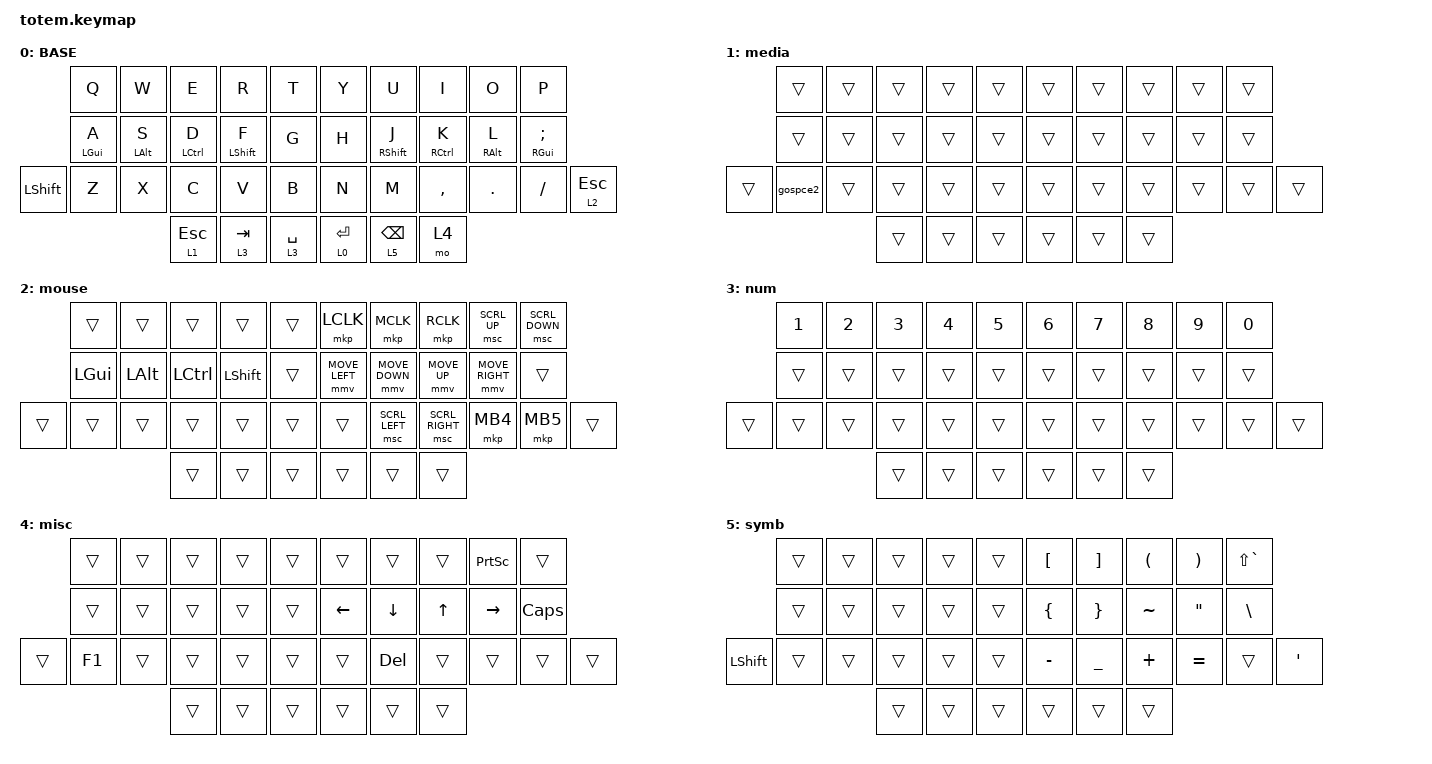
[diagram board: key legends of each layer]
//
//                                                        ▀▀▀▀▀     ▀▀▀▀▀          ▀▀█▀▀
//                                                        ▄▀▀▀▄  ▄  ▄▀▀▀▄  ▄  ▄▀▀▀▄  █  ▄▀▀▀▄
//                                                        █   █  █  █   █  █  █   █  █  █   █
//                                                         ▀▀▀   █   ▀▀▀   █   ▀▀▀   ▀   ▀▀▀
//                                                               █      ▄▄▄█▄▄▄    █   █  
//                                                               ▀      █  █  █     █▄█
//                                                             ▀▀▀▀▀    █  █  █      ▀
//                                                                      ▀  ▀  ▀
//
// ▄▄▄▄▄▄▄▄▄▄▄▄▄▄▄▄▄▄▄▄▄▄▄▄▄▄▄▄▄▄▄▄▄▄▄▄▄▄▄▄▄▄▄▄▄▄▄▄▄▄▄▄▄▄▄▄▄▄▄▄▄▄▄▄▄▄▄▄▄▄▄▄▄▄▄▄▄▄▄▄▄▄▄▄▄▄▄▄▄▄▄▄▄▄▄▄▄▄▄▄▄▄▄▄▄▄▄▄▄▄▄▄▄▄▄▄▄▄▄▄▄▄▄▄▄▄▄▄▄▄▄▄▄▄▄▄▄▄▄▄▄▄▄▄▄▄▄▄▄

#include <behaviors.dtsi>
#include <dt-bindings/zmk/keys.h>
#include <dt-bindings/zmk/pointing.h>

#define BASE 0
#define NAV  1
#define SYM  2
#define ADJ  3
#define TVP1 4
#define TVP2 5

&mt {
    quick-tap-ms = <100>;
    global-quick-tap;
    flavor = "tap-preferred";
    tapping-term-ms = <170>;
};

/ {
    combos {
        compatible = "zmk,combos";

        combo_esc {
            timeout-ms = <50>;
            key-positions = <0 1>;
            bindings = <&kp ESC>;
        };

        combo_tvp {
            timeout-ms = <100>;
            key-positions = <11 12 13>;
            bindings = <&tog 0>;
        };
    };

    macros {
        gospce2: gif {
            label = "giphy";
            compatible = "zmk,behavior-macro";
            #binding-cells = <0>;
            bindings =
                <&macro_press>,
                <&kp LEFT_GUI>,
                <&macro_tap>,
                <&kp N2>,
                <&macro_release>,
                <&kp LEFT_GUI>;
        };
    };

    keymap {
        compatible = "zmk,keymap";

        // ▄▄▄▄▄▄▄▄▄▄▄▄▄▄▄▄▄▄▄▄▄▄▄▄▄▄▄▄▄▄▄▄▄▄▄▄▄▄▄▄▄▄▄▄▄▄▄▄▄▄▄▄▄▄▄▄▄▄▄▄▄▄▄▄▄▄▄▄▄▄▄▄▄▄▄▄▄▄▄▄▄▄▄▄▄▄▄▄▄▄▄▄▄▄▄▄▄▄▄▄▄▄▄▄▄▄▄▄▄▄▄▄▄▄▄▄▄▄▄▄▄▄▄▄▄▄▄▄▄▄▄▄▄▄▄▄▄▄▄▄▄▄▄▄▄▄▄▄▄

        base_layer {
            // ┏━━━━━━━━━━━━━━━━━━━━━━━━━━━━━━━━━━━━━━━┓

            label = "BASE";

            // ┗━━━━━━━━━━━━━━━━━━━━━━━━━━━━━━━━━━━━━━━┛
            //             ┏━━━━━━━━━━━┳━━━━━━━━━━━┳━━━━━━━━━━━┳━━━━━━━━━━━┳━━━━━━━━━━━┓   ┏━━━━━━━━━━━┳━━━━━━━━━━━┳━━━━━━━━━━━┳━━━━━━━━━━━┳━━━━━━━━━━━┓
            //             ┃     Q     ┃     W     ┃     F     ┃     P     ┃     G     ┃   ┃     J     ┃     L     ┃     U     ┃     Y     ┃     ;     ┃
            //             ┣━━━━━━━━━━━╋━━━━━━━━━━━╋━━━━━━━━━━━╋━━━━━━━━━━━╋━━━━━━━━━━━┫   ┣━━━━━━━━━━━╋━━━━━━━━━━━╋━━━━━━━━━━━╋━━━━━━━━━━━╋━━━━━━━━━━━┫
            //             ┃     A     ┃     R     ┃     S     ┃     T     ┃     D     ┃   ┃     H     ┃     N     ┃     E     ┃     I     ┃     O     ┃
            // ┏━━━━━━━━━━━╋━━━━━━━━━━━╋━━━━━━━━━━━╋━━━━━━━━━━━╋━━━━━━━━━━━╋━━━━━━━━━━━┫   ┣━━━━━━━━━━━╋━━━━━━━━━━━╋━━━━━━━━━━━╋━━━━━━━━━━━╋━━━━━━━━━━━╋━━━━━━━━━━━┓
            // ┃     Q     ┃     Z     ┃     X     ┃     C     ┃     V     ┃     B     ┃   ┃     K     ┃     M     ┃     ,     ┃     .     ┃     /     ┃     \     ┃
            // ┗━━━━━━━━━━━┻━━━━━━━━━━━┻━━━━━━━━━━━╋━━━━━━━━━━━╋━━━━━━━━━━━╋━━━━━━━━━━━┫   ┣━━━━━━━━━━━╋━━━━━━━━━━━╋━━━━━━━━━━━╋━━━━━━━━━━━┻━━━━━━━━━━━┻━━━━━━━━━━━┛
            //                                     ┃    DEL    ┃    TAB    ┃    SPC    ┃   ┃   ENTER   ┃           ┃   BSPC    ┃
            //                                     ┗━━━━━━━━━━━┻━━━━━━━━━━━┻━━━━━━━━━━━┛   ┗━━━━━━━━━━━┻━━━━━━━━━━━┻━━━━━━━━━━━┛

            bindings = <
                &kp Q       &kp W       &kp E         &kp R        &kp T          &kp Y        &kp U            &kp I        &kp O       &kp P
                &mt LGUI A  &mt LALT S  &mt LCTRL D   &mt LSHFT F  &kp G          &kp H        &mt RSHFT J      &mt RCTRL K  &mt RALT L  &mt RIGHT_GUI SEMICOLON
&kp LEFT_SHIFT  &kp Z       &kp X       &kp C         &kp V        &kp B          &kp N        &kp M            &kp COMMA    &kp PERIOD  &kp FSLH                 &lt 2 ESCAPE
                                        &lt 1 ESCAPE  &lt 3 TAB    &lt 3 SPACE    &lt 0 ENTER  &lt 5 BACKSPACE  &mo 4
            >;
        };

        // ▄▄▄▄▄▄▄▄▄▄▄▄▄▄▄▄▄▄▄▄▄▄▄▄▄▄▄▄▄▄▄▄▄▄▄▄▄▄▄▄▄▄▄▄▄▄▄▄▄▄▄▄▄▄▄▄▄▄▄▄▄▄▄▄▄▄▄▄▄▄▄▄▄▄▄▄▄▄▄▄▄▄▄▄▄▄▄▄▄▄▄▄▄▄▄▄▄▄▄▄▄▄▄▄▄▄▄▄▄▄▄▄▄▄▄▄▄▄▄▄▄▄▄▄▄▄▄▄▄▄▄▄▄▄▄▄▄▄▄▄▄▄▄▄▄▄▄▄▄
        // ▄▄▄▄▄▄▄▄▄▄▄▄▄▄▄▄▄▄▄▄▄▄▄▄▄▄▄▄▄▄▄▄▄▄▄▄▄▄▄▄▄▄▄▄▄▄▄▄▄▄▄▄▄▄▄▄▄▄▄▄▄▄▄▄▄▄▄▄▄▄▄▄▄▄▄▄▄▄▄▄▄▄▄▄▄▄▄▄▄▄▄▄▄▄▄▄▄▄▄▄▄▄▄▄▄▄▄▄▄▄▄▄▄▄▄▄▄▄▄▄▄▄▄▄▄▄▄▄▄▄▄▄▄▄▄▄▄▄▄▄▄▄▄▄▄▄▄▄▄
        // ▄▄▄▄▄▄▄▄▄▄▄▄▄▄▄▄▄▄▄▄▄▄▄▄▄▄▄▄▄▄▄▄▄▄▄▄▄▄▄▄▄▄▄▄▄▄▄▄▄▄▄▄▄▄▄▄▄▄▄▄▄▄▄▄▄▄▄▄▄▄▄▄▄▄▄▄▄▄▄▄▄▄▄▄▄▄▄▄▄▄▄▄▄▄▄▄▄▄▄▄▄▄▄▄▄▄▄▄▄▄▄▄▄▄▄▄▄▄▄▄▄▄▄▄▄▄▄▄▄▄▄▄▄▄▄▄▄▄▄▄▄▄▄▄▄▄▄▄▄
        // ▄▄▄▄▄▄▄▄▄▄▄▄▄▄▄▄▄▄▄▄▄▄▄▄▄▄▄▄▄▄▄▄▄▄▄▄▄▄▄▄▄▄▄▄▄▄▄▄▄▄▄▄▄▄▄▄▄▄▄▄▄▄▄▄▄▄▄▄▄▄▄▄▄▄▄▄▄▄▄▄▄▄▄▄▄▄▄▄▄▄▄▄▄▄▄▄▄▄▄▄▄▄▄▄▄▄▄▄▄▄▄▄▄▄▄▄▄▄▄▄▄▄▄▄▄▄▄▄▄▄▄▄▄▄▄▄▄▄▄▄▄▄▄▄▄▄▄▄▄
        // ▄▄▄▄▄▄▄▄▄▄▄▄▄▄▄▄▄▄▄▄▄▄▄▄▄▄▄▄▄▄▄▄▄▄▄▄▄▄▄▄▄▄▄▄▄▄▄▄▄▄▄▄▄▄▄▄▄▄▄▄▄▄▄▄▄▄▄▄▄▄▄▄▄▄▄▄▄▄▄▄▄▄▄▄▄▄▄▄▄▄▄▄▄▄▄▄▄▄▄▄▄▄▄▄▄▄▄▄▄▄▄▄▄▄▄▄▄▄▄▄▄▄▄▄▄▄▄▄▄▄▄▄▄▄▄▄▄▄▄▄▄▄▄▄▄▄▄▄▄

        media {
            bindings = <
        &trans    &trans  &trans  &trans  &trans    &trans  &trans  &trans  &trans  &trans
        &trans    &trans  &trans  &trans  &trans    &trans  &trans  &trans  &trans  &trans
&trans  &gospce2  &trans  &trans  &trans  &trans    &trans  &trans  &trans  &trans  &trans  &trans
                          &trans  &trans  &trans    &trans  &trans  &trans
            >;
        };

        mouse {
            bindings = <
        &trans        &trans        &trans     &trans          &trans    &mkp LCLK       &mkp MCLK       &mkp RCLK        &msc SCRL_UP     &msc SCRL_DOWN
        &kp LEFT_GUI  &kp LEFT_ALT  &kp LCTRL  &kp LEFT_SHIFT  &trans    &mmv MOVE_LEFT  &mmv MOVE_DOWN  &mmv MOVE_UP     &mmv MOVE_RIGHT  &trans
&trans  &trans        &trans        &trans     &trans          &trans    &trans          &msc SCRL_LEFT  &msc SCRL_RIGHT  &mkp MB4         &mkp MB5        &trans
                                    &trans     &trans          &trans    &trans          &trans          &trans
            >;
        };

        num {
            bindings = <
        &kp NUMBER_1  &kp NUMBER_2  &kp NUMBER_3  &kp NUMBER_4  &kp N5    &kp NUMBER_6  &kp NUMBER_7  &kp N8  &kp N9  &kp N0
        &trans        &trans        &trans        &trans        &trans    &trans        &trans        &trans  &trans  &trans
&trans  &trans        &trans        &trans        &trans        &trans    &trans        &trans        &trans  &trans  &trans  &trans
                                    &trans        &trans        &trans    &trans        &trans        &trans
            >;
        };

        misc {
            bindings = <
        &trans  &trans  &trans  &trans  &trans    &trans    &trans    &trans        &kp PRINTSCREEN  &trans
        &trans  &trans  &trans  &trans  &trans    &kp LEFT  &kp DOWN  &kp UP_ARROW  &kp RIGHT        &kp CAPSLOCK
&trans  &kp F1  &trans  &trans  &trans  &trans    &trans    &kp DEL   &trans        &trans           &trans        &trans
                        &trans  &trans  &trans    &trans    &trans    &trans
            >;
        };

        symb {
            bindings = <
                &trans  &trans  &trans  &trans  &trans    &kp LEFT_BRACKET  &kp RIGHT_BRACKET  &kp LEFT_PARENTHESIS  &kp RIGHT_PARENTHESIS  &kp LS(GRAVE)
                &trans  &trans  &trans  &trans  &trans    &kp LEFT_BRACE    &kp RIGHT_BRACE    &kp TILDE             &kp DOUBLE_QUOTES      &kp BSLH
&kp LEFT_SHIFT  &trans  &trans  &trans  &trans  &trans    &kp MINUS         &kp UNDERSCORE     &kp PLUS              &kp EQUAL              &trans         &kp APOSTROPHE
                                &trans  &trans  &trans    &trans            &trans             &trans
            >;
        };
    };
};
